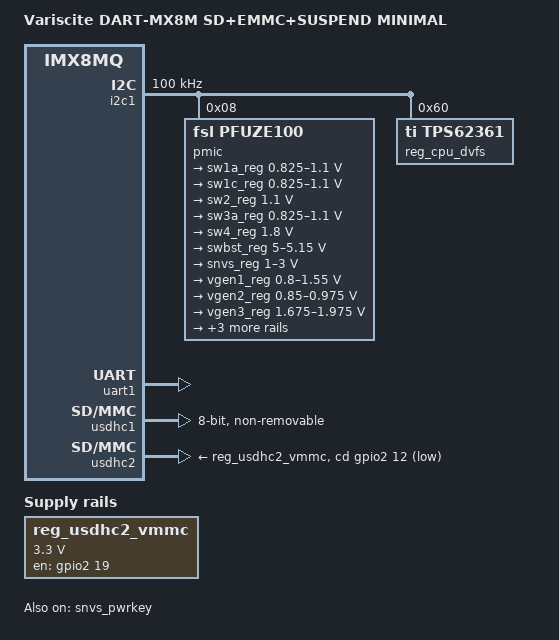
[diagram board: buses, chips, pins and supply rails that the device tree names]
// SPDX-License-Identifier: (GPL-2.0 OR MIT)
/*
 * Copyright 2017 NXP
 * Copyright (C) 2017-2018 Pengutronix, Lucas Stach <kernel@pengutronix.de>
 * Copyright 2018-2020 Variscite Ltd.
 */

/dts-v1/;

#include <dt-bindings/usb/pd.h>
#include "imx8mq.dtsi"

/ {
        model = "Variscite DART-MX8M SD+EMMC+SUSPEND MINIMAL";

	compatible = "variscite,imx8m-dart", "fsl,imx8mq";

	chosen {
		bootargs = "console=ttymxc0,115200 earlycon=ec_imx6q,0x30860000,115200";
		stdout-path = &uart1;
	};

	reg_usdhc2_vmmc: regulator-vsd-3v3 {
		pinctrl-names = "default";
		pinctrl-0 = <&pinctrl_reg_usdhc2>;
		compatible = "regulator-fixed";
		regulator-name = "VSD_3V3";
		regulator-min-microvolt = <3300000>;
		regulator-max-microvolt = <3300000>;
		gpio = <&gpio2 19 GPIO_ACTIVE_HIGH>;
		enable-active-high;
	};
};

&A53_0 {
	cpu-supply = <&reg_cpu_dvfs>;
};

&A53_1 {
	cpu-supply = <&reg_cpu_dvfs>;
};

&A53_2 {
	cpu-supply = <&reg_cpu_dvfs>;
};

&A53_3 {
	cpu-supply = <&reg_cpu_dvfs>;
};

&iomuxc {
	pinctrl-names = "default";

	pinctrl_i2c1: i2c1grp {
		fsl,pins = <
			MX8MQ_IOMUXC_I2C1_SCL_I2C1_SCL			0x4000007f
			MX8MQ_IOMUXC_I2C1_SDA_I2C1_SDA			0x4000007f
		>;
	};

	pinctrl_uart1: uart1grp {
		fsl,pins = <
			MX8MQ_IOMUXC_UART1_RXD_UART1_DCE_RX		0x49
			MX8MQ_IOMUXC_UART1_TXD_UART1_DCE_TX		0x49
		>;
	};

	pinctrl_usdhc1: usdhc1grp {
		fsl,pins = <
			MX8MQ_IOMUXC_SD1_CLK_USDHC1_CLK			0x83
			MX8MQ_IOMUXC_SD1_CMD_USDHC1_CMD			0xc3
			MX8MQ_IOMUXC_SD1_DATA0_USDHC1_DATA0		0xc3
			MX8MQ_IOMUXC_SD1_DATA1_USDHC1_DATA1		0xc3
			MX8MQ_IOMUXC_SD1_DATA2_USDHC1_DATA2		0xc3
			MX8MQ_IOMUXC_SD1_DATA3_USDHC1_DATA3		0xc3
			MX8MQ_IOMUXC_SD1_DATA4_USDHC1_DATA4		0xc3
			MX8MQ_IOMUXC_SD1_DATA5_USDHC1_DATA5		0xc3
			MX8MQ_IOMUXC_SD1_DATA6_USDHC1_DATA6		0xc3
			MX8MQ_IOMUXC_SD1_DATA7_USDHC1_DATA7		0xc3
			MX8MQ_IOMUXC_SD1_STROBE_USDHC1_STROBE		0x83
			MX8MQ_IOMUXC_SD1_RESET_B_USDHC1_RESET_B		0xc1
		>;
	};

	pinctrl_usdhc1_100mhz: usdhc1-100grp {
		fsl,pins = <
			MX8MQ_IOMUXC_SD1_CLK_USDHC1_CLK			0x8d
			MX8MQ_IOMUXC_SD1_CMD_USDHC1_CMD			0xcd
			MX8MQ_IOMUXC_SD1_DATA0_USDHC1_DATA0		0xcd
			MX8MQ_IOMUXC_SD1_DATA1_USDHC1_DATA1		0xcd
			MX8MQ_IOMUXC_SD1_DATA2_USDHC1_DATA2		0xcd
			MX8MQ_IOMUXC_SD1_DATA3_USDHC1_DATA3		0xcd
			MX8MQ_IOMUXC_SD1_DATA4_USDHC1_DATA4		0xcd
			MX8MQ_IOMUXC_SD1_DATA5_USDHC1_DATA5		0xcd
			MX8MQ_IOMUXC_SD1_DATA6_USDHC1_DATA6		0xcd
			MX8MQ_IOMUXC_SD1_DATA7_USDHC1_DATA7		0xcd
			MX8MQ_IOMUXC_SD1_STROBE_USDHC1_STROBE		0x8d
			MX8MQ_IOMUXC_SD1_RESET_B_USDHC1_RESET_B		0xc1
		>;
	};

	pinctrl_usdhc1_200mhz: usdhc1-200grp {
		fsl,pins = <
			MX8MQ_IOMUXC_SD1_CLK_USDHC1_CLK			0x9f
			MX8MQ_IOMUXC_SD1_CMD_USDHC1_CMD			0xdf
			MX8MQ_IOMUXC_SD1_DATA0_USDHC1_DATA0		0xdf
			MX8MQ_IOMUXC_SD1_DATA1_USDHC1_DATA1		0xdf
			MX8MQ_IOMUXC_SD1_DATA2_USDHC1_DATA2		0xdf
			MX8MQ_IOMUXC_SD1_DATA3_USDHC1_DATA3		0xdf
			MX8MQ_IOMUXC_SD1_DATA4_USDHC1_DATA4		0xdf
			MX8MQ_IOMUXC_SD1_DATA5_USDHC1_DATA5		0xdf
			MX8MQ_IOMUXC_SD1_DATA6_USDHC1_DATA6		0xdf
			MX8MQ_IOMUXC_SD1_DATA7_USDHC1_DATA7		0xdf
			MX8MQ_IOMUXC_SD1_STROBE_USDHC1_STROBE		0x9f
			MX8MQ_IOMUXC_SD1_RESET_B_USDHC1_RESET_B		0xc1
		>;
	};

	pinctrl_usdhc2: usdhc2grp {
		fsl,pins = <
			MX8MQ_IOMUXC_SD2_CLK_USDHC2_CLK			0x83
			MX8MQ_IOMUXC_SD2_CMD_USDHC2_CMD			0xc3
			MX8MQ_IOMUXC_SD2_DATA0_USDHC2_DATA0		0xc3
			MX8MQ_IOMUXC_SD2_DATA1_USDHC2_DATA1		0xc3
			MX8MQ_IOMUXC_SD2_DATA2_USDHC2_DATA2		0xc3
			MX8MQ_IOMUXC_SD2_DATA3_USDHC2_DATA3		0xc3
		>;
	};

	pinctrl_usdhc2_100mhz: usdhc2-100grp {
		fsl,pins = <
			MX8MQ_IOMUXC_SD2_CLK_USDHC2_CLK			0x85
			MX8MQ_IOMUXC_SD2_CMD_USDHC2_CMD			0xc5
			MX8MQ_IOMUXC_SD2_DATA0_USDHC2_DATA0		0xc5
			MX8MQ_IOMUXC_SD2_DATA1_USDHC2_DATA1		0xc5
			MX8MQ_IOMUXC_SD2_DATA2_USDHC2_DATA2		0xc5
			MX8MQ_IOMUXC_SD2_DATA3_USDHC2_DATA3		0xc5
		>;
	};

	pinctrl_usdhc2_200mhz: usdhc2-200grp {
		fsl,pins = <
			MX8MQ_IOMUXC_SD2_CLK_USDHC2_CLK			0x87
			MX8MQ_IOMUXC_SD2_CMD_USDHC2_CMD			0xc7
			MX8MQ_IOMUXC_SD2_DATA0_USDHC2_DATA0		0xc7
			MX8MQ_IOMUXC_SD2_DATA1_USDHC2_DATA1		0xc7
			MX8MQ_IOMUXC_SD2_DATA2_USDHC2_DATA2		0xc7
			MX8MQ_IOMUXC_SD2_DATA3_USDHC2_DATA3		0xc7
		>;
	};

	pinctrl_sai3: sai3grp {
		fsl,pins = <
			MX8MQ_IOMUXC_SAI3_RXFS_SAI3_RX_SYNC		0xd6
			MX8MQ_IOMUXC_SAI3_RXC_SAI3_RX_BCLK		0xd6
			MX8MQ_IOMUXC_SAI3_RXD_SAI3_RX_DATA0		0xd6
			MX8MQ_IOMUXC_SAI3_TXFS_SAI3_TX_SYNC		0xd6
			MX8MQ_IOMUXC_SAI3_TXC_SAI3_TX_BCLK		0xd6
			MX8MQ_IOMUXC_SAI3_TXD_SAI3_TX_DATA0		0xd6
			MX8MQ_IOMUXC_SAI3_MCLK_SAI3_MCLK		0xd6
		>;
	};

	pinctrl_usdhc2_vsel: usdhc2grpvsel {
		fsl,pins = <
			MX8MQ_IOMUXC_GPIO1_IO04_USDHC2_VSELECT	0xc1
		>;
	};
	pinctrl_reg_usdhc2: regusdhc2grpgpio {
		fsl,pins = <
			MX8MQ_IOMUXC_SD2_RESET_B_GPIO2_IO19		0x41
		>;
	};
	pinctrl_usdhc2_cd: usdhc2grpsd {
		fsl,pins = <
			MX8MQ_IOMUXC_SD2_CD_B_GPIO2_IO12		0x41
		>;
	};
};

&i2c1 {
	clock-frequency = <100000>;
	pinctrl-names = "default";
	pinctrl-0 = <&pinctrl_i2c1>;
	status = "okay";

	pmic@8 {
		compatible = "fsl,pfuze100";
		fsl,pfuze-support-disable-sw;
		reg = <0x8>;

		regulators {
			sw1a_reg: sw1ab {
				regulator-min-microvolt = <825000>;
				regulator-max-microvolt = <1100000>;
			};

			sw1c_reg: sw1c {
				regulator-min-microvolt = <825000>;
				regulator-max-microvolt = <1100000>;
			};

			sw2_reg: sw2 {
				regulator-min-microvolt = <1100000>;
				regulator-max-microvolt = <1100000>;
				regulator-always-on;
			};

			sw3a_reg: sw3ab {
				regulator-min-microvolt = <825000>;
				regulator-max-microvolt = <1100000>;
				regulator-always-on;
			};

			sw4_reg: sw4 {
				regulator-min-microvolt = <1800000>;
				regulator-max-microvolt = <1800000>;
				regulator-always-on;
			};

			swbst_reg: swbst {
				regulator-min-microvolt = <5000000>;
				regulator-max-microvolt = <5150000>;
			};

			snvs_reg: vsnvs {
				regulator-min-microvolt = <1000000>;
				regulator-max-microvolt = <3000000>;
				regulator-always-on;
			};

			vref_reg: vrefddr {
				regulator-always-on;
			};

			vgen1_reg: vgen1 {
				regulator-min-microvolt = <800000>;
				regulator-max-microvolt = <1550000>;
			};

			vgen2_reg: vgen2 {
				regulator-min-microvolt = <850000>;
				regulator-max-microvolt = <975000>;
				regulator-always-on;
			};

			vgen3_reg: vgen3 {
				regulator-min-microvolt = <1675000>;
				regulator-max-microvolt = <1975000>;
				regulator-always-on;
			};

			vgen4_reg: vgen4 {
				regulator-min-microvolt = <1625000>;
				regulator-max-microvolt = <1875000>;
				regulator-always-on;
			};

			vgen5_reg: vgen5 {
				regulator-min-microvolt = <3075000>;
				regulator-max-microvolt = <3625000>;
				regulator-always-on;
			};

			vgen6_reg: vgen6 {
				regulator-min-microvolt = <1800000>;
				regulator-max-microvolt = <3300000>;
			};
		};
	};

	reg_cpu_dvfs: tps62361@60 {
		reg = <0x60>;
		compatible = "ti,tps62361";
		regulator-min-microvolt = <900000>;
		regulator-max-microvolt = <1000000>;
		regulator-name = "arm-supply";
		regulator-boot-on;
		regulator-always-on;
		ti,enable-force-pwm;
	};
};

/* Console */
&uart1 {
	pinctrl-names = "default";
	pinctrl-0 = <&pinctrl_uart1>;
	assigned-clocks = <&clk IMX8MQ_CLK_UART1>;
	assigned-clock-parents = <&clk IMX8MQ_CLK_25M>;
	status = "okay";
};

/* eMMC */
&usdhc1 {
	pinctrl-names = "default", "state_100mhz", "state_200mhz";
	pinctrl-0 = <&pinctrl_usdhc1>;
	pinctrl-1 = <&pinctrl_usdhc1_100mhz>;
	pinctrl-2 = <&pinctrl_usdhc1_200mhz>;
	vqmmc-supply = <&sw4_reg>;
	bus-width = <8>;
	non-removable;
	no-sd;
	no-sdio;
	status = "okay";
};

/* SD card */
&usdhc2 {
	pinctrl-names = "default", "state_100mhz", "state_200mhz";
	pinctrl-0 = <&pinctrl_usdhc2>, <&pinctrl_usdhc2_cd>, <&pinctrl_usdhc2_vsel>;
	pinctrl-1 = <&pinctrl_usdhc2_100mhz>, <&pinctrl_usdhc2_cd>, <&pinctrl_usdhc2_vsel>;
	pinctrl-2 = <&pinctrl_usdhc2_200mhz>, <&pinctrl_usdhc2_cd>, <&pinctrl_usdhc2_vsel>;
	cd-gpios = <&gpio2 12 GPIO_ACTIVE_LOW>;
	vmmc-supply = <&reg_usdhc2_vmmc>;
	status = "okay";
};

&irqsteer {
	status = "disabled";
};

&snvs_rtc {
	status = "disabled";
};

&snvs_pwrkey {
	status = "okay";
};
